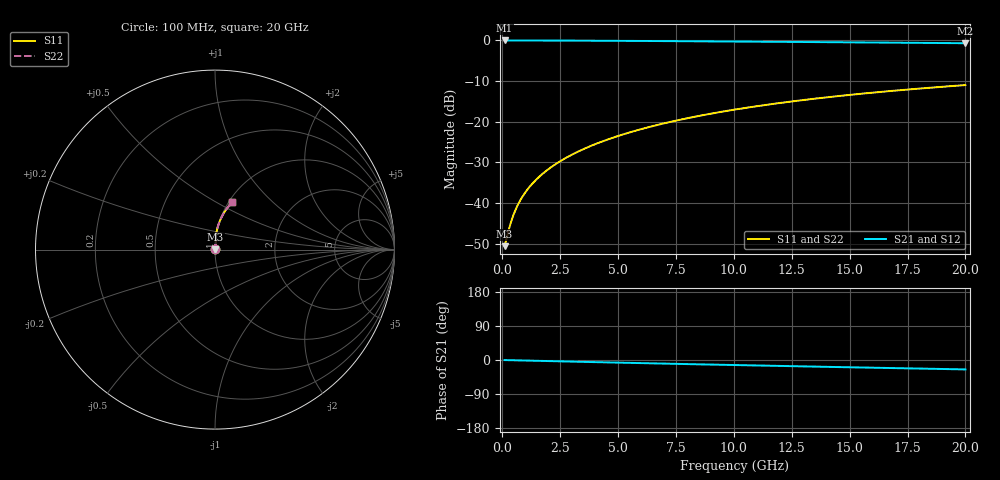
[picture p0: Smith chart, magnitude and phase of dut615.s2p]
! Touchstone file exported from HFSS 2024.1.0
!  File:  C:/UserFiles/LocalFiles/RDL_TSV_Batchsim/temp_RDL_top_615_1779779918.aedt
!  Generated:  03:21:14 PM May 26, 2026
!  Design:  RDL_top
!  Project:  temp_RDL_top_615_1779779918
!  Setup:  Setup1
!  Solution:  Sweep
! Variables:
!  dtsv = 10.80580581um
!  hbump = 3um
!  htsv = 83.35um
!  ldown = 100um
!  lrdl = 281.42um
!  p = 40
!  p1 = 58.37um
!  rhole = 1um
!  t = 450um
!  tdown = 3.915915916um
!  trdl = 2um
!  wdown = 15.38538539um
!  wrdl = 22.73um
# GHz S MA R 50.000000
! Terminal data exported
! Port[1] = Box2_T1
! Port[2] = Box2_T2
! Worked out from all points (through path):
!   200 points, 100 MHz to 20 GHz, reference 50 ohm
!   highest |S21| = -0.02 dB at 100 MHz (marker M1); lowest = -0.7 dB at 20 GHz (marker M2)
!   group delay of S21, straight-line fit = 3.42 ps
!   lowest |S11| = -50.6 dB at 100 MHz (marker M3), VSWR 1.01, Z = 50.3 + j0.139 ohm
!   |S11| at or under -10 dB: start of sweep to end of sweep
!   |S22| runs from -50.6 to -11.0 dB; largest |S21 - S12| = 2.5e-15
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0.1  0.002948 28.0  0.9974 -0.1  0.9974 -0.1  0.002948 28.0
! Gamma 0 0 0 0
! Port Impedance 50 0 50 0
0.3  0.004922 56.9  0.9972 -0.4  0.9972 -0.4  0.004922 56.9
0.4  0.00612 63.3  0.9971 -0.6  0.9971 -0.6  0.006119 63.3
0.5  0.007353 67.4  0.997 -0.7  0.997 -0.7  0.007353 67.4
0.6  0.008597 70.4  0.9969 -0.9  0.9969 -0.9  0.008598 70.4
0.7  0.009845 72.5  0.9968 -1.0  0.9968 -1.0  0.009846 72.6
0.9  0.01234 75.6  0.9965 -1.3  0.9965 -1.3  0.01234 75.6
1.2  0.01608 78.6  0.9961 -1.7  0.9961 -1.7  0.01608 78.6
1.4  0.01858 80.0  0.9959 -2.0  0.9959 -2.0  0.01859 80.0
1.7  0.02237 81.5  0.9954 -2.4  0.9954 -2.4  0.02237 81.5
2.2  0.02876 83.3  0.9945 -3.1  0.9945 -3.1  0.02877 83.3
2.8  0.03659 84.6  0.9933 -4.0  0.9933 -4.0  0.03659 84.6
3.5  0.04594 85.4  0.9915 -4.9  0.9915 -4.9  0.04594 85.4
4.2  0.05552 85.8  0.9895 -5.9  0.9895 -5.9  0.05552 85.8
5  0.06672 85.9  0.9869 -7.0  0.9869 -7.0  0.06672 85.9
5.9  0.0796 85.7  0.9838 -8.1  0.9838 -8.1  0.0796 85.7
6.8  0.09272 85.1  0.9805 -9.3  0.9805 -9.3  0.09272 85.1
8.4  0.1164 83.8  0.9743 -11.3  0.9743 -11.3  0.1164 83.8
10.1  0.1418 82.0  0.9673 -13.4  0.9673 -13.4  0.1418 82.0
13.4  0.1906 78.1  0.9532 -17.4  0.9532 -17.4  0.1906 78.1
16.7  0.2375 73.9  0.9382 -21.2  0.9382 -21.2  0.2375 73.9
20  0.2819 69.9  0.9225 -24.8  0.9225 -24.8  0.2819 69.9
